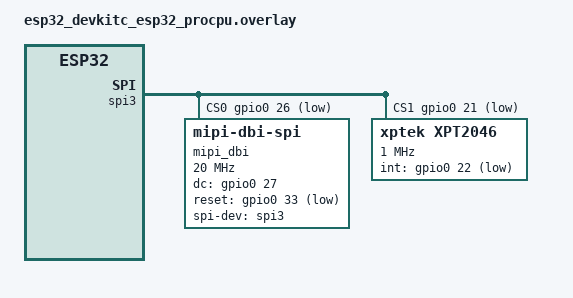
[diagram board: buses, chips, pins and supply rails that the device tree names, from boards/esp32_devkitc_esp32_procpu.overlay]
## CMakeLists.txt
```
cmake_minimum_required(VERSION 3.20.0)
find_package(Zephyr REQUIRED HINTS $ENV{ZEPHYR_BASE})
project(zephyr_lcd_app)
target_sources(app PRIVATE src/main.c)
zephyr_linker_sources(SECTIONS src/psram_sections.ld)
```

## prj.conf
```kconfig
#CONFIG_WIFI=y
#CONFIG_WIFI_ESP32=y

CONFIG_GPIO=y
CONFIG_SPI=y
CONFIG_DISPLAY=y
CONFIG_ILI9340=y

CONFIG_LOG=y
CONFIG_LOG_DEFAULT_LEVEL=3

# 余裕
CONFIG_MAIN_STACK_SIZE=4096

# --- LVGL 本体 ---
CONFIG_LVGL=y
CONFIG_LV_COLOR_DEPTH_16=y
CONFIG_LV_COLOR_16_SWAP=y    # ILI9341系のRGB565バイト順に合わせる

# --- LVGLメモリ/描画バッファ ---
CONFIG_LV_Z_MEM_POOL_SIZE=32768
CONFIG_LV_Z_VDB_SIZE=20
CONFIG_LV_Z_DOUBLE_VDB=y

# --- 動的確保(Zephyr heap)を増量：VDB確保の余裕を作る ---
CONFIG_HEAP_MEM_POOL_SIZE=100000

# --- デバッグ ---
CONFIG_LV_USE_LOG=y
# LVGL自体のログをZephyrログに流す
CONFIG_LOG=y
CONFIG_LOG_DEFAULT_LEVEL=3

# --- UARTシェルから状態確認できるように ---
CONFIG_SHELL=y
CONFIG_UART_CONSOLE=y
CONFIG_LV_Z_SHELL=y

# PSRAM を使う
CONFIG_ESP_SPIRAM=y
CONFIG_SPIRAM_MODE_QUAD=y
CONFIG_SPIRAM_SPEED_40M=y
# （初期動作確認中だけ）簡易メモリテスト
CONFIG_ESP_SPIRAM_MEMTEST=y
# 共有マルチヒープ（外部RAM用ヒープ）を有効化
CONFIG_SHARED_MULTI_HEAP=y

# LVGL
CONFIG_LV_Z_BUFFER_ALLOC_STATIC=y
CONFIG_LV_Z_VDB_SIZE=20
CONFIG_LV_Z_VDB_ALIGN=64
CONFIG_LV_Z_VDB_CUSTOM_SECTION=y

# LVGL（既存に追加）
CONFIG_LV_USE_LABEL=y

# ビルトインフォントを入れる（サイズはお好みで複数）
CONFIG_LV_FONT_MONTSERRAT_14=y
CONFIG_LV_FONT_MONTSERRAT_20=y

# 既定フォントに 14pt を使う
CONFIG_LV_FONT_DEFAULT_MONTSERRAT_14=y

# デバッグ強めたいとき
# CONFIG_LV_USE_LOG=y
# CONFIG_LV_LOG_LEVEL=4

# 入力サブシステム & XPT2046
CONFIG_INPUT=y
CONFIG_INPUT_XPT2046=y       # DTがあれば自動で有効になりますが、明示でOK

# LVGLのポインタ入力ルータ
CONFIG_LV_Z_POINTER_INPUT=n
#CONFIG_LV_Z_POINTER_INPUT_MSGQ_COUNT=16

CONFIG_INPUT_LOG_LEVEL_DBG=y
```

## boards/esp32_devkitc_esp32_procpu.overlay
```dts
/ {
	chosen { zephyr,display = &ili9341; };
	aliases { display = &ili9341; };
};

/* 必要な dt-bindings */
#include <dt-bindings/gpio/gpio.h>
#include <dt-bindings/spi/spi.h>
#include <dt-bindings/mipi_dbi/mipi_dbi.h>
#include <dt-bindings/display/ili9xxx.h>

&spi3 {
	status = "okay";
	use-iomux;
	pinctrl-0 = <&spim3_default>;   /* MOSI=23, MISO=19, SCLK=18 */
	pinctrl-names = "default";

	/* ★ LCD用CS(26) と Touch用CS(21) の2本。間にカンマが要る！ */
	cs-gpios = <&gpio0 26 GPIO_ACTIVE_LOW>, <&gpio0 21 GPIO_ACTIVE_LOW>;

	/* MIPI-DBI ラッパ */
	mipi_dbi: mipi-dbi-spi@0 {
		compatible = "zephyr,mipi-dbi-spi";
		reg = <0>;
		status = "okay";

		/* MIPI-DBI が使う SPI デバイス（親の &spi3 を指定） */
		spi-dev = <&spi3>;

		dc-gpios    = <&gpio0 27 GPIO_ACTIVE_HIGH>;
		reset-gpios = <&gpio0 33 GPIO_ACTIVE_LOW>;
		clock-frequency = <20000000>;

		#address-cells = <1>;
		#size-cells = <0>;

		ili9341: display@0 {
			compatible = "ilitek,ili9340";
			reg = <0>;
			status = "okay";

			width = <240>;
			height = <320>;
			rotation = <90>;

			mipi-mode           = "MIPI_DBI_MODE_SPI_4WIRE";
			pixel-format        = <ILI9XXX_PIXEL_FORMAT_RGB565>;
			mipi-max-frequency  = <40000000>;
			mipi-hold-cs;
		};
	};

	/* XPT2046（reg=1 → 上の cs-gpios の2本目=IO21 を使う） */
	xpt2046: touchscreen@1 {
		compatible = "xptek,xpt2046";
		reg = <1>;
		status = "okay";
		spi-max-frequency = <1000000>;

		int-gpios = <&gpio0 22 GPIO_ACTIVE_LOW>; /* PENIRQ */

		/* 画面解像度（表示側 320x240 に合わせる） */
		touchscreen-size-x = <240>;
		touchscreen-size-y = <320>;

		/* 仮キャリブレーション（後で微調整） */
		min-x = <200>;  max-x = <3900>;
		min-y = <200>;  max-y = <3900>;
	};
};

/* ★ ここがポイント：必ず / { ... } の中に作る ★ */
 / {
     lvgl_touch: lvgl_pointer_input {
         compatible = "zephyr,lvgl-pointer-input";
         input = <&xpt2046>;     /* ← phandle */
         display = <&ili9341>;   /* ← phandle */
         swap-xy;                /* rotation=90 ならまずコレ */
         /* 必要なら
          * invert-x;
          * invert-y;
          */
     };
 };
```

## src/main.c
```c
#include <zephyr/kernel.h>
#include <zephyr/device.h>
#include <zephyr/devicetree.h>
#include <zephyr/drivers/gpio.h>
#include <zephyr/drivers/display.h>
#include <zephyr/input/input.h>
#include <zephyr/logging/log.h>
#include <zephyr/shell/shell.h>
#include <zephyr/sys/atomic.h>
#include <stdlib.h>   // strtol
#include <string.h>   // strcmp
#include <inttypes.h>
#include <lvgl.h>

LOG_MODULE_REGISTER(app, LOG_LEVEL_INF);

/* === バックライト: IO32（HIGHで点灯。基板が逆なら GPIO_OUTPUT_INACTIVE に） === */
#define BLK_PORT DT_NODELABEL(gpio0)
#define BLK_PIN  32

#define CLAMPI(v, lo, hi) ((v) < (lo) ? (lo) : ((v) > (hi) ? (hi) : (v)))

/* ---- 座標変換モード（ビット） ----
 * bit0: SWAP_XY
 * bit1: INVERT_X
 * bit2: INVERT_Y
 * 例) 5(=0b101) → SWAP + INVERT_Y
 */
enum { MAP_SWAP=0x1, MAP_INVX=0x2, MAP_INVY=0x4 };
static uint8_t g_map = (MAP_SWAP | MAP_INVX | MAP_INVY);  /* rotation=90 の定番初期値 */

/* 画面部品 */
static lv_obj_t *lbl_title, *lbl_xy, *lbl_hb, *cursor;
static int16_t scr_w, scr_h;

/* 入力から受け取るRAW状態（inputスレッド→mainスレッド） */
struct touch_raw_state {
    atomic_t dirty;   /* 1: 更新あり */
    int rx, ry;       /* ドライバからのRAW値（既に0..width-1/0..height-1の可能性あり） */
    bool pressed;
};
static struct touch_raw_state g_touch = {
    .dirty = ATOMIC_INIT(0),
    .rx = 0, .ry = 0, .pressed = false,
};

/* タイトルの再描画要求（他スレッド→main） */
static atomic_t title_dirty = ATOMIC_INIT(0);

/* --- 座標変換 --- */
static inline void map_touch_to_screen(int rx, int ry, int *sx, int *sy)
{
    if (!sx || !sy) return;
    int x = rx, y = ry;
    if (g_map & MAP_SWAP) { int t = x; x = y; y = t; }
    if (g_map & MAP_INVX) x = (scr_w - 1) - x;
    if (g_map & MAP_INVY) y = (scr_h - 1) - y;
    *sx = CLAMPI(x, 0, scr_w - 1);
    *sy = CLAMPI(y, 0, scr_h - 1);
}

/* --- タイトルラベルに現在のmapを反映（mainスレッドで呼ぶ） --- */
static void show_map_on_title(void)
{
    if (!lbl_title) return;
    lv_label_set_text_fmt(lbl_title,
        "LVGL on Zephyr (ILI9341) - map=%u [%s%s%s]",
        g_map,
        (g_map&MAP_SWAP) ? "SWAP " : "",
        (g_map&MAP_INVX) ? "INVX " : "",
        (g_map&MAP_INVY) ? "INVY " : "");
}

/* --- RAW入力コールバック（LVGLは触らない！） --- */
/* xpt2046ノードだけ監視（全デバイスを見るなら第1引数をNULL） */
static void raw_input_cb(struct input_event *evt, void *user_data)
{
    if (!evt) return;

    static int32_t rx, ry;
    static bool touch_pressed = false;

    if (evt->type == INPUT_EV_ABS) {
        if (evt->code == INPUT_ABS_X) rx = evt->value;
        if (evt->code == INPUT_ABS_Y) ry = evt->value;
    } else if (evt->type == INPUT_EV_KEY && evt->code == INPUT_BTN_TOUCH) {
        touch_pressed = (evt->value != 0);
    }

    if (evt->sync) {
        LOG_INF("[RAW] dev=%s %s x=%" PRId32 " y=%" PRId32,
                evt->dev ? evt->dev->name : "?", touch_pressed ? "DOWN":"UP", rx, ry);

        /* ここでは共有変数に入れてdirtyを立てるだけ（UIは触らない） */
        g_touch.rx = (int)rx;
        g_touch.ry = (int)ry;
        g_touch.pressed = touch_pressed;
        atomic_set(&g_touch.dirty, 1);
    }
}
INPUT_CALLBACK_DEFINE(DEVICE_DT_GET(DT_NODELABEL(xpt2046)), raw_input_cb, NULL);

/* --- Shell: touch_map <0..7> / touch_map show（UIは触らずフラグだけ） --- */
static int cmd_touch_map(const struct shell *shell, size_t argc, char **argv)
{
    if (!shell) return -EINVAL;

    if (argc == 2 && argv[1] && strcmp(argv[1], "show") == 0) {
        shell_print(shell, "map=%u (bits: swap=%d invx=%d invy=%d)",
            g_map, !!(g_map&MAP_SWAP), !!(g_map&MAP_INVX), !!(g_map&MAP_INVY));
        return 0;
    }

    if (argc != 2 || !argv[1]) {
        shell_error(shell, "usage: touch_map <0..7>|show");
        return -EINVAL;
    }

    char *endp = NULL;
    long v = strtol(argv[1], &endp, 0);
    if (endp == argv[1] || v < 0 || v > 7) {
        shell_error(shell, "invalid value: %s (0..7)", argv[1]);
        return -EINVAL;
    }

    g_map = (uint8_t)v;
    LOG_INF("touch_map set to %u", g_map);

    /* 画面更新はmain側に依頼 */
    atomic_set(&title_dirty, 1);
    return 0;
}
SHELL_CMD_ARG_REGISTER(touch_map, NULL, "set touch mapping 0..7 or 'show'", cmd_touch_map, 2, 0);

int main(void)
{
    /* --- バックライト ON --- */
    const struct device *gpio0 = DEVICE_DT_GET(BLK_PORT);
    if (device_is_ready(gpio0)) {
        gpio_pin_configure(gpio0, BLK_PIN, GPIO_OUTPUT_ACTIVE);
    }

    /* --- ディスプレイ --- */
    const struct device *disp = DEVICE_DT_GET(DT_CHOSEN(zephyr_display));
    if (!device_is_ready(disp)) {
        LOG_ERR("display not ready");
        return -1;
    }
    display_blanking_off(disp);

    struct display_capabilities cap;
    display_get_capabilities(disp, &cap);
    scr_w = (int16_t)cap.x_resolution;
    scr_h = (int16_t)cap.y_resolution;
    LOG_INF("Display %ux%u rotation ok", cap.x_resolution, cap.y_resolution);

    /* --- 背景＆基本スタイル（以降、UIはmainのみで触る） --- */
    lv_obj_t *scr = lv_screen_active();
    if (!scr) {
        LOG_ERR("Failed to get active screen");
        return -1;
    }
    lv_obj_set_style_bg_color(scr, lv_color_hex(0x202020), 0);
    lv_obj_set_style_bg_opa(scr, LV_OPA_COVER, 0);

    static lv_style_t st_white;
    lv_style_init(&st_white);
    lv_style_set_text_color(&st_white, lv_color_white());
    lv_style_set_text_font(&st_white, LV_FONT_DEFAULT);
    lv_obj_add_style(scr, &st_white, 0);

    /* --- タイトル（現在のmapを表示） --- */
    lbl_title = lv_label_create(scr);
    if (lbl_title) {
        lv_obj_align(lbl_title, LV_ALIGN_TOP_LEFT, 8, 8);
        show_map_on_title();
    }

    /* --- 心拍表示 --- */
    lbl_hb = lv_label_create(scr);
    if (lbl_hb) {
        lv_label_set_text(lbl_hb, "hb=0");
        lv_obj_align(lbl_hb, LV_ALIGN_TOP_RIGHT, -8, 8);
    }

    /* --- 座標表示 --- */
    lbl_xy = lv_label_create(scr);
    if (lbl_xy) {
        lv_label_set_text(lbl_xy, "Touch: (waiting)");
        lv_obj_align(lbl_xy, LV_ALIGN_TOP_LEFT, 8, 30);
#if defined(CONFIG_LV_FONT_MONTSERRAT_20)
        extern const lv_font_t lv_font_montserrat_20;
        lv_obj_set_style_text_font(lbl_xy, &lv_font_montserrat_20, 0);
#endif
    }

    /* --- 白丸カーソル --- */
    cursor = lv_obj_create(scr);
    if (cursor) {
        lv_obj_set_size(cursor, 12, 12);
        lv_obj_set_style_bg_color(cursor, lv_color_white(), 0);
        lv_obj_set_style_radius(cursor, LV_RADIUS_CIRCLE, 0);
        lv_obj_set_style_border_width(cursor, 0, 0);
        lv_obj_add_flag(cursor, LV_OBJ_FLAG_HIDDEN);
    }

    /* 初回描画（任意） */
#if LVGL_VERSION_MAJOR >= 8
    lv_timer_handler();
#else
    lv_task_handler();
#endif

    /* --- メインイベントループ（LVGLはここだけで触る） --- */
    uint32_t hb = 0;
    int64_t next_hb = k_uptime_get() + 500;
    int64_t next_lv = k_uptime_get();   /* 10ms目安でポンプ */

    for (;;) {
        int64_t now = k_uptime_get();

        /* LVGLポンプ（10ms目安） */
        if (now >= next_lv) {
#if LVGL_VERSION_MAJOR >= 8
            lv_timer_handler();
#else
            lv_task_handler();
#endif
            next_lv = now + 10;
        }

        /* 入力からの更新要求があれば、このスレッドでUIを更新 */
        if (atomic_cas(&g_touch.dirty, 1, 0)) {
            if (lbl_xy && cursor && scr_w > 0 && scr_h > 0) {
                int sx=0, sy=0;
                map_touch_to_screen(g_touch.rx, g_touch.ry, &sx, &sy);

                lv_label_set_text_fmt(lbl_xy, "Touch: %s  x=%d  y=%d",
                                      g_touch.pressed ? "DOWN" : "UP", sx, sy);
                if (g_touch.pressed) {
                    lv_obj_clear_flag(cursor, LV_OBJ_FLAG_HIDDEN);
                    lv_obj_set_pos(cursor, sx - 6, sy - 6);
                } else {
                    lv_obj_add_flag(cursor, LV_OBJ_FLAG_HIDDEN);
                }
            }
        }

        /* タイトル更新要求の反映 */
        if (atomic_cas(&title_dirty, 1, 0)) {
            show_map_on_title();
        }

        /* ハートビート */
        if (now >= next_hb) {
            if (lbl_hb) {
                lv_label_set_text_fmt(lbl_hb, "hb=%u", ++hb);
            }
            next_hb = now + 500;
        }

        /* 軽くスリープ（5〜10ms） */
        k_sleep(K_MSEC(5));
    }

    /* NOTREACHED */
    /* return 0; */
}
```
